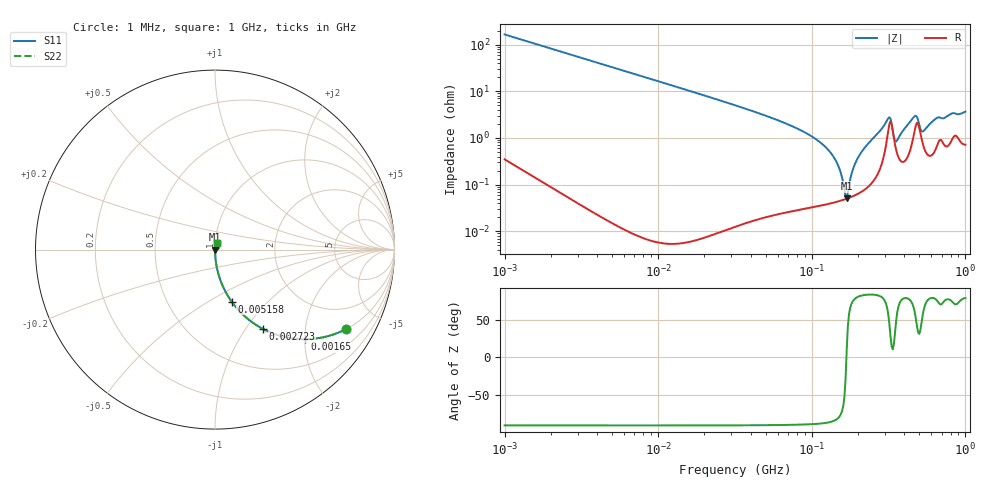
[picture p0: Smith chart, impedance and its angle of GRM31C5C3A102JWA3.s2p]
!Murata Part Number: GRM31C5C3A102JWA3
!These Parameters are Measured in Series Mode Connection
!Data Generated on Mar 30, 2021
!  o--ll--o
!Port1  Port2
!  o------o
!Operation Temp=25[degC], DC Bias Voltage=0[V]
!Freq. Start=1000[kHz] Stop=1000[MHz] 401[Steps]
# Hz S RI R 50
!Freq.(Hz) S11(Real) S11(Imag) S21(Real) S21(Imag) S12(Real) S12(Imag) S22(Real) S22(Imag)
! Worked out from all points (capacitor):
!   401 points, 1 MHz to 1 GHz, reference 50 ohm
!   read as one part in series: C = 966 pF near 1.035 MHz
!   lowest |Z| = 50.9 mohm at 168.8 MHz (marker M1)
!   series resonance near 168 MHz, so ESL is about 930 pH
!   S11 on the Smith chart (normalised r, x): 1 MHz: 1.01, -3.30; 1.65 MHz: 1.00, -2.00; 2.723 MHz: 1.00, -1.21; 5.158 MHz: 1.00, -0.64; 1 GHz: 1.01, +0.07
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1000000  0.7303 -0.4427  0.2697 0.4427  0.2697 0.4427  0.7303 -0.4427
1650061  0.4992 -0.4994  0.5008 0.4994  0.5008 0.4994  0.4992 -0.4994
2722701  0.2681 -0.4426  0.7319 0.4426  0.7319 0.4426  0.2681 -0.4426
3180534  0.2116 -0.4081  0.7884 0.4081  0.7884 0.4081  0.2116 -0.4081
5158222  0.0925 -0.2896  0.9075 0.2896  0.9075 0.2896  0.0925 -0.2896
1.01158e7  0.0257 -0.1581  0.9743 0.1581  0.9743 0.1581  0.0257 -0.1581
3.162278e7  0.00264 -0.0501  0.9974 0.0501  0.9974 0.0501  0.00264 -0.0501
6.531306e7  0.000706 -0.0214  0.9993 0.0214  0.9993 0.0214  0.000706 -0.0214
1.005773e8  0.000439 -0.0106  0.9996 0.0106  0.9996 0.0106  0.000439 -0.0106
1.216186e8  0.000414 -0.00659  0.9996 0.00659  0.9996 0.00659  0.000414 -0.00659
1.396368e8  0.000427 -0.00377  0.9996 0.00377  0.9996 0.00377  0.000427 -0.00377
1.496236e8  0.000445 -0.00237  0.9996 0.00237  0.9996 0.00237  0.000445 -0.00237
1.631173e8  0.000481 -0.000612  0.9995 0.000612  0.9995 0.000612  0.000481 -0.000612
1.688496e8  0.0005 9.86e-05  0.9995 -9.86e-05  0.9995 -9.86e-05  0.0005 9.86e-05
1.872837e8  0.000578 0.00229  0.9994 -0.00229  0.9994 -0.00229  0.000578 0.00229
2.041738e8  0.000678 0.00421  0.9993 -0.00421  0.9993 -0.00421  0.000678 0.00421
3.198895e8  0.0198 0.0187  0.9802 -0.0187  0.9802 -0.0187  0.0198 0.0187
3.548134e8  0.00541 0.00634  0.9946 -0.00634  0.9946 -0.00634  0.00541 0.00634
4.677351e8  0.015 0.0246  0.985 -0.0246  0.985 -0.0246  0.015 0.0246
5.278372e8  0.00763 0.0112  0.9924 -0.0112  0.9924 -0.0112  0.00763 0.0112
6.493816e8  0.00704 0.0254  0.993 -0.0254  0.993 -0.0254  0.00704 0.0254
1e9  0.0084 0.0355  0.9916 -0.0355  0.9916 -0.0355  0.0084 0.0355
